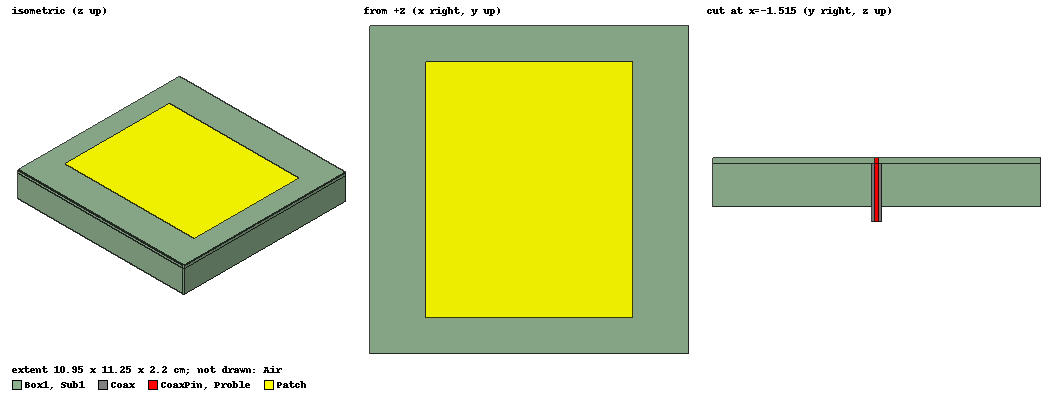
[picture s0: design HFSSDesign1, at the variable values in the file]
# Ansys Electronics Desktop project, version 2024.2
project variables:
  $Patch_Length = 0.070864925meter
  $Patch_Width = 0.087660221meter
  $Substrate_Length = 0.109494912meter
  $Substrate_Width = 0.11246602meter
  $Substrate_Thickness = 2mm
  $Air_Height = 0.08meter
  $X_Offset = 0.020281598meter
  $PLA_Thickness = 1.5cm
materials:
  vacuum: permittivity=1
  Rogers RT/duroid 5880 (tm): permittivity=2.2 dielectric_loss_tangent=0.0009
  polyethylene: permittivity=2.25 dielectric_loss_tangent=0.001
  pec: conductivity=1e+30
  air: permittivity=1.0006 permeability=1.0000004
  Rogers TMM 4 (tm): permittivity=4.5 dielectric_loss_tangent=0.002
  PLA_Print: permittivity=2.8
  FR4_epoxy: permittivity=4.4 dielectric_loss_tangent=0.02

design HFSSDesign1 (HFSS, HFSS Terminal Network, model units cm)
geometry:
  Sub1 [FR4_epoxy] = box(corner=(-($Substrate_Length/2), -($Substrate_Width/2), 0cm), size=($Substrate_Length, $Substrate_Width, $Substrate_Thickness))
  Patch = rectangle(corner=(-($Patch_Length/2), -($Patch_Width/2), $Substrate_Thickness), x_size=$Patch_Length, y_size=$Patch_Width)
  Coax [polyethylene] = cylinder(axis=Z, base_centre=(-($Patch_Length/2-$X_Offset), 0cm, 0cm), radius=0.16cm, height=-0.5cm-$PLA_Thickness)
  CoaxPin [pec] = cylinder(axis=Z, base_centre=(-($Patch_Length/2-$X_Offset), 0cm, 0cm), radius=0.07cm, height=-0.5cm-$PLA_Thickness)
  Proble [pec] = cylinder(axis=Z, base_centre=(-($Patch_Length/2-$X_Offset), 0cm, 0cm), radius=0.07cm, height=$Substrate_Thickness)
  Air [air] = box(corner=(-0.075, -0.075, -1.5cm), size=(0.15, 0.15, $Air_Height))
  Box1 [PLA_Print] = box(corner=(-$Substrate_Length/2, -$Substrate_Width/2, 0cm), size=($Substrate_Length, $Substrate_Width, -$PLA_Thickness))
  Inf_GND [PLA_Print] = object_from(Box1.face(-z))
  Cutout = circle(normal=Z, centre=(-($Patch_Length/2-$X_Offset), 0cm, -3.5cm), radius=0.07cm)
  Inf_GND.subtract(Cutout)
  Coax_Cut = cylinder(axis=Z, base_centre=(-($Patch_Length/2-$X_Offset), 0cm, 0cm), radius=0.16cm, height=-0.5cm-$PLA_Thickness)
  CoaxPin_Cut = cylinder(axis=Z, base_centre=(-($Patch_Length/2-$X_Offset), 0cm, 0cm), radius=0.07cm, height=-0.5cm-$PLA_Thickness)
  Box1.subtract(Coax_Cut, CoaxPin_Cut)
  CoaxPin_Cut2 = cylinder(axis=Z, base_centre=(-($Patch_Length/2-$X_Offset), 0cm, 0cm), radius=0.07cm, height=-0.5cm-$PLA_Thickness)
  Coax_Cut2 = cylinder(axis=Z, base_centre=(-($Patch_Length/2-$X_Offset), 0cm, 0cm), radius=0.16cm, height=-0.5cm-$PLA_Thickness)
  Air.subtract(Coax_Cut2, CoaxPin_Cut2)
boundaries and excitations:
  PerfE_Patch: Perfect E Objects=Patch
  Rad1: Radiation Faces=Air.face(+z, -y, -x, +y, +x)
  PerfE1: Perfect E Objects=Inf_GND
  CoaxPin_T1: Terminal port=P1 Faces=CoaxPin.face(-z end) TerminalResistance=50ohm
  P1: Wave Port Faces=Coax.face(-z end) WavePortType=Terminal NumModes=1
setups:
  Setup1: HfssDriven Frequency=915MHz MaxDeltaS=0.02 MaximumPasses=20 MinimumPasses=1 MinimumConvergedPasses=1 PercentRefinement=30 BasisOrder=1 PortAccuracy=2 DrivenSolverType="Direct Solver" VariablesForDerivatives($Patch_Length, $Patch_Width, $Substrate_Length, $Substrate_Thickness, $Substrate_Width, $X_Offset) VariableFlagsForDerivatives(1, 1, 1, 1, 1, 1)
    sweep Sweep: 600MHz to 1.3GHz, 350 points; Type=Interpolating InterpTolerance=0.5 InterpMaxSolns=250 PassivityErrorTolerance=0.0001
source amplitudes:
  P1:1: 1 0
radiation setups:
  ff_2d: Infinite Sphere Theta=-180deg..180deg step 2deg Phi=0deg..90deg step 90deg
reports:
  Terminal S Parameter Plot 1: dB(St(CoaxPin_T1,CoaxPin_T1)) vs Freq on Setup1 : Sweep; markers m1 at 0.96303725GHz, m2 at 0.94297994GHz, MX1 at x=9.15e+08, MY1 at y=-15
  Terminal S Parameter Chart 1: St(CoaxPin_T1,CoaxPin_T1) on Setup1 : Sweep [Freq=all]; markers m1 at 915MHz
  Plot 1:
  Tune Terminal S Parameter Plot 1: dB(TuneSt(CoaxPin_T1,CoaxPin_T1,All)) vs Freq on Setup1 : Sweep; markers MX1 at x=9.15e+08, MY1 at y=-15
  Gain Plot 1: dB(GainTotal) vs Phi, Theta on Setup1 : LastAdaptive, ff_2d [Freq=0.915GHz $Patch_Length=0.0710086meter $Patch_Width=0.0887987meter $Substrate_Length=0.13meter $Substrate_Width=0.13meter $Substrate_Thickness=0.00951946meter $Air_Height=0.0732meter $X_Offset=0.018772meter]
